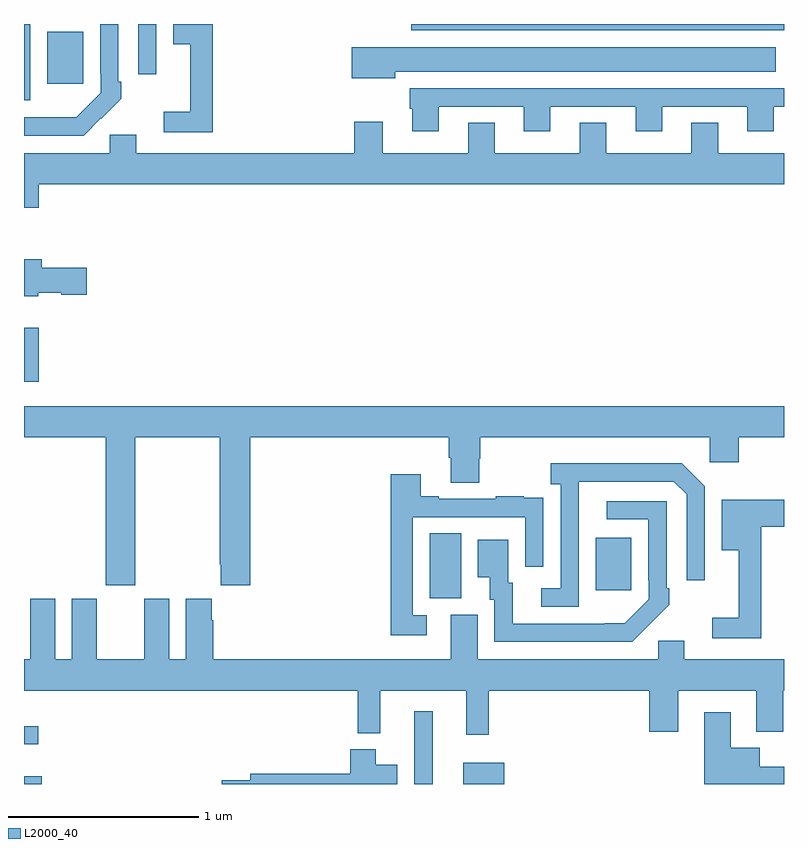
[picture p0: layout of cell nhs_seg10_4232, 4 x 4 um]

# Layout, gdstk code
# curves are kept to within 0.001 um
import gdstk
lib = gdstk.Library(unit=1e-6, precision=1e-09)
def R(c, l, rs):  # rectangles x0, y0, x1, y1
    for r in rs: c.add(gdstk.rectangle(r[:2], r[2:], *l))
def P(c, l, *ps):  # polygons
    for p in ps: c.add(gdstk.Polygon(p, *l))
L2000_40 = (2000, 40)

nhs_seg10_4232 = lib.new_cell('nhs_seg10_4232')
R(nhs_seg10_4232, L2000_40, [(347,1290.5,347.093,1290.541), (349.053,1290.5,349.15,1290.883), (349.313,1290.5,349.528,1290.613), (347,1290.708,347.074,1290.804), (349.136,1291.477,349.3,1291.82), (350.009,1291.521,350.197,1291.795), (347,1292.616,347.078,1292.902), (347,1294.098,347.034,1294.5), (347.123,1294.185,347.311,1294.459), (347.601,1294.236,347.697,1294.5), (349.037,1294.466,351,1294.5)])
P(nhs_seg10_4232, L2000_40, [(347.993,1294.498),(347.987,1294.498),(347.987,1294.5),(347.786,1294.5),(347.786,1294.394),(347.876,1294.394),(347.876,1294.039),(347.736,1294.039),(347.736,1293.93),(347.993,1293.93)],
  [(347.405,1294.003),(347.406,1294.002),(347.511,1294.107),(347.511,1294.195),(347.496,1294.195),(347.496,1294.5),(347.4,1294.5),(347.4,1294.237),(347.403,1294.237),(347.403,1294.137),(347.275,1294.009),(347,1294.008),(347,1293.912),(347.314,1293.912)],
  [(348.955,1294.25),(350.956,1294.25),(350.956,1294.378),(348.726,1294.378),(348.726,1294.214),(348.955,1294.214)],
  [(349.183,1294.065),(349.631,1294.065),(349.631,1293.936),(349.771,1293.936),(349.771,1294.065),(350.219,1294.065),(350.219,1293.936),(350.359,1293.936),(350.359,1294.065),(350.807,1294.065),(350.807,1293.936),(350.947,1293.936),(350.947,1294.065),(351,1294.065),(351,1294.161),(349.031,1294.161),(349.031,1294.053),(349.043,1294.053),(349.043,1293.936),(349.183,1293.936)],
  [(347.078,1293.656),(351,1293.656),(351,1293.82),(350.653,1293.82),(350.653,1293.98),(350.513,1293.98),(350.513,1293.82),(350.065,1293.82),(350.065,1293.98),(349.925,1293.98),(349.925,1293.82),(349.477,1293.82),(349.477,1293.98),(349.337,1293.98),(349.337,1293.82),(348.889,1293.82),(348.889,1293.985),(348.737,1293.985),(348.737,1293.82),(347.59,1293.82),(347.59,1293.918),(347.451,1293.918),(347.451,1293.82),(347,1293.82),(347,1293.532),(347.078,1293.532)],
  [(347.076,1293.086),(347.196,1293.086),(347.196,1293.074),(347.329,1293.074),(347.329,1293.216),(347.093,1293.216),(347.093,1293.262),(347,1293.262),(347,1293.068),(347.076,1293.068)],
  [(347.586,1292.324),(348.031,1292.324),(348.031,1291.657),(348.035,1291.657),(348.035,1291.545),(348.191,1291.545),(348.191,1292.324),(349.235,1292.324),(349.235,1292.218),(349.247,1292.218),(349.247,1292.086),(349.395,1292.086),(349.395,1292.211),(349.4,1292.211),(349.4,1292.324),(350.61,1292.324),(350.61,1292.193),(350.762,1292.193),(350.762,1292.324),(351,1292.324),(351,1292.488),(347,1292.488),(347,1292.324),(347.431,1292.324),(347.431,1291.545),(347.586,1291.545)],
  [(349.92,1291.891),(349.921,1292.091),(350.421,1292.091),(350.487,1292.025),(350.487,1291.572),(350.583,1291.572),(350.583,1292.067),(350.462,1292.188),(349.773,1292.188),(349.773,1292.078),(349.824,1292.078),(349.824,1291.53),(349.722,1291.53),(349.722,1291.434),(349.92,1291.434)],
  [(349.12,1291.389),(349.047,1291.389),(349.047,1291.905),(349.638,1291.905),(349.638,1291.644),(349.734,1291.644),(349.734,1291.898),(349.733,1291.898),(349.733,1292.007),(349.631,1292.007),(349.631,1292.014),(349.483,1292.014),(349.483,1292.001),(349.183,1292.001),(349.183,1292.014),(349.087,1292.014),(349.087,1292.131),(348.931,1292.131),(348.931,1291.284),(349.12,1291.284)],
  [(350.879,1291.853),(351,1291.853),(351,1291.995),(350.672,1291.995),(350.672,1291.73),(350.762,1291.73),(350.762,1291.375),(350.622,1291.375),(350.622,1291.266),(350.879,1291.266)],
  [(350.291,1291.339),(350.292,1291.338),(350.397,1291.443),(350.397,1291.531),(350.382,1291.531),(350.382,1291.989),(350.067,1291.989),(350.067,1291.893),(350.286,1291.893),(350.286,1291.573),(350.289,1291.573),(350.289,1291.473),(350.161,1291.345),(349.573,1291.344),(349.573,1291.56),(349.549,1291.56),(349.549,1291.786),(349.388,1291.786),(349.388,1291.589),(349.451,1291.589),(349.451,1291.47),(349.476,1291.47),(349.476,1291.248),(350.2,1291.248)],
  [(349.445,1290.992),(350.291,1290.992),(350.291,1290.774),(350.443,1290.774),(350.443,1290.992),(350.855,1290.992),(350.855,1290.776),(350.995,1290.776),(350.995,1290.992),(351,1290.992),(351,1291.156),(350.476,1291.156),(350.476,1291.254),(350.337,1291.254),(350.337,1291.156),(349.387,1291.156),(349.387,1291.392),(349.247,1291.392),(349.247,1291.156),(347.996,1291.156),(347.996,1291.361),(347.989,1291.361),(347.989,1291.474),(347.852,1291.474),(347.852,1291.156),(347.764,1291.156),(347.764,1291.474),(347.633,1291.474),(347.633,1291.156),(347.383,1291.156),(347.383,1291.474),(347.252,1291.474),(347.252,1291.156),(347.164,1291.156),(347.164,1291.474),(347.033,1291.474),(347.033,1291.156),(347,1291.156),(347,1290.992),(348.757,1290.992),(348.757,1290.767),(348.875,1290.767),(348.875,1290.992),(349.328,1290.992),(349.328,1290.759),(349.445,1290.759)],
  [(351,1290.592),(350.872,1290.592),(350.872,1290.691),(350.719,1290.691),(350.719,1290.877),(350.579,1290.877),(350.579,1290.5),(351,1290.5)],
  [(348.964,1290.601),(348.85,1290.601),(348.85,1290.682),(348.716,1290.682),(348.716,1290.553),(348.191,1290.553),(348.191,1290.519),(348.042,1290.519),(348.042,1290.5),(348.964,1290.5)])

lib.write_gds('nhs_seg10_4232.gds')
